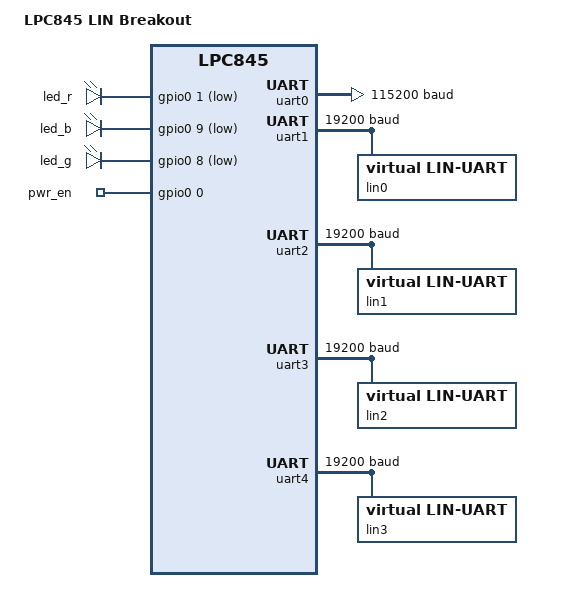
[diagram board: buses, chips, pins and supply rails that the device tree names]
/dts-v1/;

#include <nxp/nxp_lpc845.dtsi>
#include <dt-bindings/gpio/gpio.h>

/ {
    model = "LPC845 LIN Breakout";
    compatible = "nxp,lpc";

    chosen {
        zephyr,sram    = &sram0;
        zephyr,flash   = &flash0;
        zephyr,console = &uart0;
    };

    aliases {
        led0 = &led_r;
        led1 = &led_g;
        led2 = &led_b;
    };

    leds {
        compatible = "gpio-leds";
        led_r: led_r   { gpios = <&gpio0 1 GPIO_ACTIVE_LOW>;  };
        led_b: led_b   { gpios = <&gpio0 9 GPIO_ACTIVE_LOW>;  };
        led_g: led_g   { gpios = <&gpio0 8 GPIO_ACTIVE_LOW>;  };
        pwr_en: pwr_en { gpios = <&gpio0 0 GPIO_ACTIVE_HIGH>; };
    };
};

&uart0 {
    pinctrl = <P0_25 P0_24>;
    current-speed = <115200>;
    status = "okay";
};

&uart1 {
    pinctrl = <P0_17 P0_18>;
    current-speed = <19200>;
    status = "okay";
    lin0: lin0 {
        compatible = "virtual,lin-uart";
        status = "okay";
        bitrate = <19200>;
    };
};

&uart2 {
    pinctrl = <P0_20 P0_19>;
    current-speed = <19200>;
    status = "okay";
    lin1: lin1 {
        compatible = "virtual,lin-uart";
        status = "okay";
        bitrate = <19200>;
    };
};

&uart3 {
    pinctrl = <P0_21 P0_22>;
    current-speed = <19200>;
    status = "okay";
    lin2: lin2 {
        compatible = "virtual,lin-uart";
        status = "okay";
        bitrate = <19200>;
    };
};

&uart4 {
    pinctrl = <P0_23 P0_14>;
    current-speed = <19200>;
    status = "okay";
    lin3: lin3 {
        compatible = "virtual,lin-uart";
        status = "okay";
        bitrate = <19200>;
    };
};

&gpio0 {
    status = "okay";
};

&gpio1 {
    status = "okay";
};
